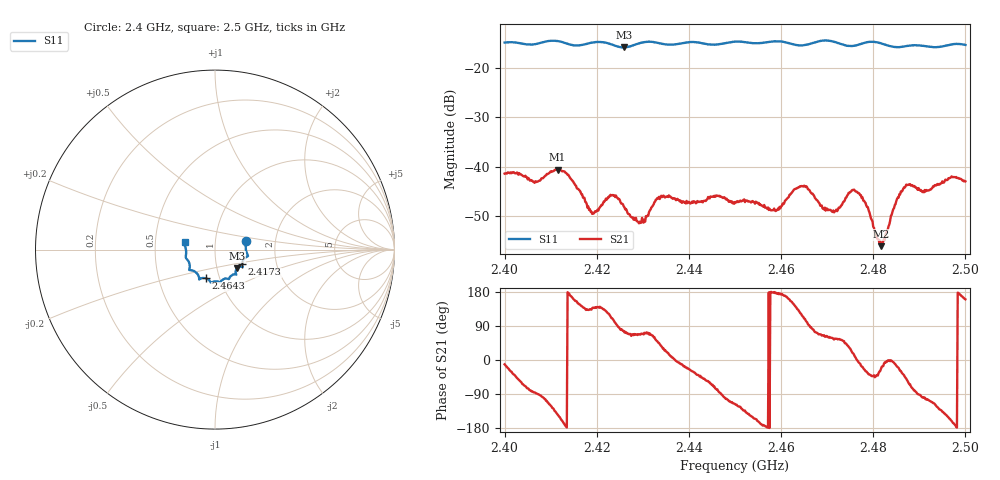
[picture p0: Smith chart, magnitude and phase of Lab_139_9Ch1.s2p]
# Hz S RI R 50
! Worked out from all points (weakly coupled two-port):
!   601 points, 2.4 GHz to 2.5 GHz, reference 50 ohm
!   highest |S21| = -40.56 dB at 2.4115 GHz (marker M1); lowest = -56.0 dB at 2.4817 GHz (marker M2)
!   lowest |S11| = -15.9 dB at 2.4258 GHz (marker M3), VSWR 1.38, Z = 62.3 - j13.3 ohm
!   |S11| at or under -10 dB: start of sweep to end of sweep
!   S12 and S22 are empty: the file has one direction only
!   S11 on the Smith chart (normalised r, x): 2.4 GHz: 1.41, +0.14; 2.4173 GHz: 1.34, -0.22; 2.4643 GHz: 0.86, -0.28; 2.5 GHz: 0.72, +0.06
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2.4e9  0.1725 0.0492  0.00835 -0.0017  0 0  0 0
2.406667e9  0.1731 -0.0062  0.000454 -0.00713  0 0  0 0
2.4115e9  0.182 -0.0373  -0.00757 -0.00552  0 0  0 0
2.416667e9  0.1522 -0.0742  -0.00418 0.00323  0 0  0 0
2.417333e9  0.1514 -0.0814  -0.00357 0.0033  0 0  0 0
2.419167e9  0.1528 -0.0952  -0.00256 0.00228  0 0  0 0
2.423333e9  0.1434 -0.0937  -0.00178 0.00485  0 0  0 0
2.425833e9  0.1221 -0.1036  0.000917 0.00389  0 0  0 0
2.429667e9  0.1168 -0.1353  0.000952 0.00256  0 0  0 0
2.433333e9  0.1126 -0.1374  0.00334 0.00342  0 0  0 0
2.45e9  0.0291 -0.1812  -0.00194 -0.00395  0 0  0 0
2.459e9  -0.0225 -0.1837  -0.00362 0.000293  0 0  0 0
2.464333e9  -0.0496 -0.1604  -0.00337 0.0054  0 0  0 0
2.466667e9  -0.0756 -0.1594  0.000618 0.00531  0 0  0 0
2.471333e9  -0.0877 -0.1615  0.00201 0.00301  0 0  0 0
2.476333e9  -0.1199 -0.1181  0.00561 0.000237  0 0  0 0
2.481667e9  -0.1419 -0.1047  0.00145 -0.000631  0 0  0 0
2.483333e9  -0.1408 -0.0897  0.00252 -9.52e-05  0 0  0 0
2.4855e9  -0.1468 -0.0667  0.00455 -0.00173  0 0  0 0
2.4875e9  -0.1577 -0.0525  0.00366 -0.00544  0 0  0 0
2.491167e9  -0.1619 -0.033  -0.000915 -0.00575  0 0  0 0
2.5e9  -0.1644 0.043  -0.00671 0.00242  0 0  0 0
